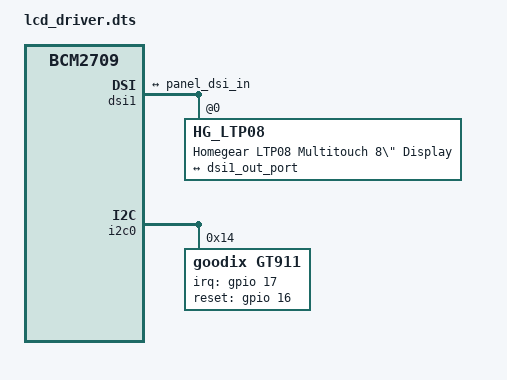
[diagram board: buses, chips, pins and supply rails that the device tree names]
/dts-v1/;
/plugin/;

/ {
    compatible = "brcm,bcm2835", "brcm,bcm2708", "brcm,bcm2709";

    /* video */

    fragment@0 {
        target=<&dsi1>;

        __overlay__ {
            status = "okay";

            #address-cells = <1>;
            #size-cells = <0>;

            power-domains = <&power 18>;

            port {
                dsi1_out_port: endpoint {
                    remote-endpoint = <&panel_dsi_in>;
                };
            };

            panel_test: panel@0 {
                compatible = "HG_LTP08";
                reg=<0>;
                label= "Homegear LTP08 Multitouch 8\" Display";
                vc4_dsi = <&dsi1>;
                reset = <13>;
		backlight = <28>;
                port {
                    panel_dsi_in: endpoint {
                        remote-endpoint = <&dsi1_out_port>;
                    };
                };
            };
        };
    };

    /* touch */

	fragment@1 {
		target = <&gpio>;
		__overlay__ {
			goodix_pins: goodix_pins {
				brcm,pins = <17 16>; /* interrupt, reset */
				brcm,function = <0 0>; /* in , in  */
				brcm,pull = <1 2>; /* pull down, pull up */
			};
		};
	};

	fragment@2 {
		target = <&i2c0>;
		__overlay__ {
			#address-cells = <1>;
			#size-cells = <0>;
			status = "okay";

			gt911: gt911@14 {
				compatible = "goodix,gt911";
				reg = <0x14>;
				pinctrl-names = "default";
				pinctrl-0 = <&goodix_pins>;
				interrupt-parent = <&gpio>;
				interrupts = <17 2>; /* interrupt no, high to low edge triggered */
				irq-gpios = <&gpio 17 0>;
				reset-gpios = <&gpio 16 0>;
				touchscreen-size-x = <800>;
				touchscreen-size-y = <1280>;
			};
		};
	};

	__overrides__ {
		interrupt = <&goodix_pins>,"brcm,pins:0",
                    <&gt911>,"interrupts:0",
                    <&gt911>,"irq-gpios:4";
		    reset = <&goodix_pins>,"brcm,pins:4",
                    <&gt911>,"reset-gpios:4";
	};

};
